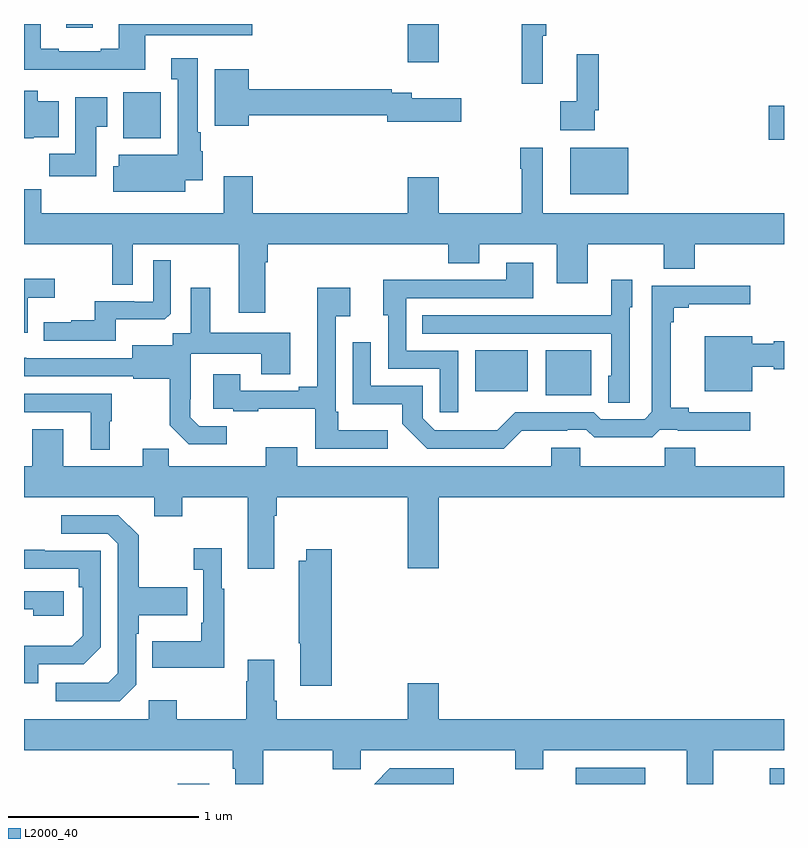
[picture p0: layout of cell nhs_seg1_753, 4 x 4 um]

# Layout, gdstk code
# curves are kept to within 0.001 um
import gdstk
lib = gdstk.Library(unit=1e-6, precision=1e-09)
def R(c, l, rs):  # rectangles x0, y0, x1, y1
    for r in rs: c.add(gdstk.rectangle(r[:2], r[2:], *l))
def P(c, l, *ps):  # polygons
    for p in ps: c.add(gdstk.Polygon(p, *l))
L2000_40 = (2000, 40)

nhs_seg1_753 = lib.new_cell('nhs_seg1_753')
R(nhs_seg1_753, L2000_40, [(151.808,574.199,151.975,574.201), (153.905,574.199,154.27,574.284), (154.925,574.199,155,574.281), (153.746,576.245,153.985,576.481), (153.374,576.266,153.652,576.481), (153.875,577.304,154.18,577.549), (154.92,577.591,155,577.769), (151.523,577.598,151.72,577.84), (153.02,577.998,153.184,578.199), (151.223,578.178,151.363,578.199)])
P(nhs_seg1_753, L2000_40, [(153.731,578.136),(153.749,578.136),(153.749,578.199),(153.621,578.199),(153.621,577.884),(153.731,577.884)],
  [(151.639,578.139),(152.2,578.139),(152.2,578.199),(151.499,578.199),(151.499,578.068),(151.403,578.068),(151.403,578.055),(151.183,578.055),(151.183,578.068),(151.087,578.068),(151.087,578.199),(151,578.199),(151,577.958),(151.639,577.958)],
  [(154.005,577.744),(154.025,577.744),(154.025,578.041),(153.908,578.041),(153.908,577.793),(153.822,577.793),(153.822,577.64),(154.005,577.64)],
  [(151.849,577.376),(151.942,577.376),(151.942,577.53),(151.93,577.53),(151.93,577.63),(151.915,577.63),(151.915,578.02),(151.775,578.02),(151.775,577.907),(151.808,577.907),(151.808,577.51),(151.499,577.51),(151.499,577.451),(151.469,577.451),(151.469,577.316),(151.849,577.316)],
  [(152.182,577.72),(152.912,577.72),(152.912,577.685),(153.301,577.685),(153.301,577.807),(153.04,577.807),(153.04,577.836),(152.936,577.836),(152.936,577.856),(152.182,577.856),(152.182,577.96),(152.003,577.96),(152.003,577.664),(152.182,577.664)],
  [(151.05,577.604),(151.183,577.604),(151.183,577.792),(151.072,577.792),(151.072,577.849),(151,577.849),(151,577.598),(151.05,577.598)],
  [(151.381,577.657),(151.438,577.657),(151.438,577.813),(151.271,577.813),(151.271,577.516),(151.132,577.516),(151.132,577.398),(151.381,577.398)],
  [(152.269,576.944),(152.282,576.944),(152.282,577.04),(153.233,577.04),(153.233,576.941),(153.397,576.941),(153.397,577.04),(153.803,577.04),(153.803,576.834),(153.967,576.834),(153.967,577.04),(154.367,577.04),(154.367,576.912),(154.531,576.912),(154.531,577.04),(155,577.04),(155,577.204),(153.73,577.204),(153.73,577.549),(153.613,577.549),(153.613,577.436),(153.621,577.436),(153.621,577.204),(153.184,577.204),(153.184,577.393),(153.02,577.393),(153.02,577.204),(152.204,577.204),(152.204,577.399),(152.051,577.399),(152.051,577.204),(151.091,577.204),(151.091,577.328),(151,577.328),(151,577.04),(151.464,577.04),(151.464,576.826),(151.572,576.826),(151.572,577.04),(152.129,577.04),(152.129,576.678),(152.269,576.678)],
  [(151.483,576.644),(151.741,576.644),(151.773,576.675),(151.773,576.955),(151.68,576.955),(151.68,576.738),(151.58,576.738),(151.58,576.741),(151.373,576.741),(151.373,576.64),(151.249,576.64),(151.249,576.628),(151.105,576.628),(151.105,576.531),(151.483,576.531)],
  [(153.285,576.48),(153.012,576.48),(153.012,576.756),(153.679,576.756),(153.679,576.943),(153.539,576.943),(153.539,576.852),(153.109,576.852),(153.109,576.854),(152.891,576.854),(152.891,576.666),(152.916,576.666),(152.916,576.384),(153.189,576.384),(153.189,576.156),(153.285,576.156)],
  [(151.02,576.758),(151.162,576.758),(151.162,576.857),(151,576.857),(151,576.573),(151.02,576.573)],
  [(154.188,576.708),(154.201,576.708),(154.201,576.853),(154.092,576.853),(154.092,576.667),(153.775,576.667),(153.775,576.666),(153.097,576.666),(153.097,576.57),(154.092,576.57),(154.092,576.348),(154.076,576.348),(154.076,576.205),(154.188,576.205)],
  [(153.62,576.059),(153.86,576.059),(153.86,576.063),(153.96,576.063),(154,576.024),(154.307,576.024),(154.347,576.063),(154.441,576.063),(154.441,576.059),(154.822,576.059),(154.822,576.156),(154.498,576.156),(154.498,576.179),(154.403,576.179),(154.403,576.629),(154.421,576.629),(154.421,576.706),(154.498,576.706),(154.498,576.725),(154.822,576.725),(154.822,576.822),(154.305,576.822),(154.305,576.159),(154.266,576.12),(154.035,576.12),(153.999,576.156),(153.585,576.156),(153.491,576.062),(153.386,576.062),(153.386,576.06),(153.162,576.06),(153.099,576.123),(153.099,576.294),(152.826,576.294),(152.826,576.523),(152.73,576.523),(152.73,576.197),(152.992,576.197),(152.992,576.095),(153.122,575.964),(153.525,575.964)],
  [(152.068,576.081),(151.923,576.081),(151.876,576.128),(151.876,576.223),(151.878,576.223),(151.878,576.464),(152.249,576.464),(152.249,576.355),(152.401,576.355),(152.401,576.574),(151.981,576.574),(151.981,576.811),(151.877,576.811),(151.877,576.572),(151.782,576.572),(151.782,576.508),(151.571,576.508),(151.571,576.441),(151,576.442),(151,576.345),(151.575,576.345),(151.575,576.333),(151.767,576.333),(151.767,576.087),(151.867,575.987),(152.068,575.987)],
  [(152.914,576.061),(152.653,576.061),(152.653,576.157),(152.64,576.157),(152.64,576.662),(152.716,576.662),(152.716,576.811),(152.543,576.811),(152.543,576.289),(152.447,576.289),(152.447,576.27),(152.137,576.27),(152.137,576.355),(151.997,576.355),(151.997,576.174),(152.101,576.174),(152.101,576.162),(152.233,576.162),(152.233,576.173),(152.532,576.173),(152.532,575.964),(152.914,575.964)],
  [(154.834,576.395),(154.947,576.395),(154.947,576.383),(155,576.383),(155,576.53),(154.947,576.53),(154.947,576.517),(154.834,576.517),(154.834,576.556),(154.583,576.556),(154.583,576.266),(154.834,576.266)],
  [(151.45,576.108),(151.462,576.108),(151.462,576.252),(151,576.252),(151,576.156),(151.352,576.156),(151.352,575.957),(151.45,575.957)],
  [(152.317,575.612),(152.33,575.612),(152.33,575.708),(153.02,575.708),(153.02,575.334),(153.184,575.334),(153.184,575.708),(155,575.708),(155,575.872),(154.532,575.872),(154.532,575.97),(154.372,575.97),(154.372,575.872),(153.927,575.872),(153.927,575.97),(153.776,575.97),(153.776,575.872),(152.437,575.872),(152.437,575.971),(152.273,575.971),(152.273,575.872),(151.763,575.872),(151.763,575.963),(151.625,575.963),(151.625,575.872),(151.207,575.872),(151.207,576.067),(151.043,576.067),(151.043,575.872),(151,575.872),(151,575.708),(151.685,575.708),(151.685,575.609),(151.833,575.609),(151.833,575.708),(152.177,575.708),(152.177,575.331),(152.317,575.331)],
  [(151.59,574.722),(151.59,574.991),(151.603,574.991),(151.603,575.087),(151.859,575.087),(151.859,575.235),(151.603,575.235),(151.603,575.507),(151.497,575.613),(151.197,575.613),(151.197,575.517),(151.44,575.517),(151.494,575.463),(151.494,574.782),(151.443,574.731),(151.167,574.731),(151.167,574.635),(151.503,574.635)],
  [(152.053,575.227),(152.041,575.227),(152.041,575.44),(151.893,575.44),(151.893,575.327),(151.944,575.327),(151.944,575.047),(151.932,575.047),(151.932,574.951),(151.675,574.951),(151.675,574.811),(152.053,574.811)],
  [(152.621,575.434),(152.486,575.434),(152.486,575.374),(152.446,575.374),(152.446,574.939),(152.453,574.939),(152.453,574.716),(152.621,574.716)],
  [(151.074,574.83),(151.314,574.83),(151.404,574.92),(151.404,575.427),(151.109,575.427),(151.109,575.432),(151,575.432),(151,575.331),(151.288,575.331),(151.288,575.234),(151.308,575.234),(151.308,574.98),(151.255,574.927),(151,574.927),(151,574.728),(151.074,574.728)],
  [(151.21,575.214),(151,575.214),(151,575.118),(151.049,575.118),(151.049,575.084),(151.21,575.084)],
  [(152.259,574.376),(152.626,574.376),(152.626,574.277),(152.772,574.277),(152.772,574.376),(153.586,574.376),(153.586,574.277),(153.733,574.277),(153.733,574.376),(154.487,574.376),(154.487,574.199),(154.627,574.199),(154.627,574.376),(155,574.376),(155,574.54),(153.184,574.54),(153.184,574.729),(153.02,574.729),(153.02,574.54),(152.33,574.54),(152.33,574.636),(152.317,574.636),(152.317,574.852),(152.177,574.852),(152.177,574.739),(152.17,574.739),(152.17,574.54),(151.803,574.54),(151.803,574.639),(151.656,574.639),(151.656,574.54),(151,574.54),(151,574.376),(152.099,574.376),(152.099,574.28),(152.111,574.28),(152.111,574.199),(152.259,574.199)],
  [(153.262,574.281),(152.925,574.281),(152.843,574.199),(153.262,574.199)])

lib.write_gds('nhs_seg1_753.gds')
